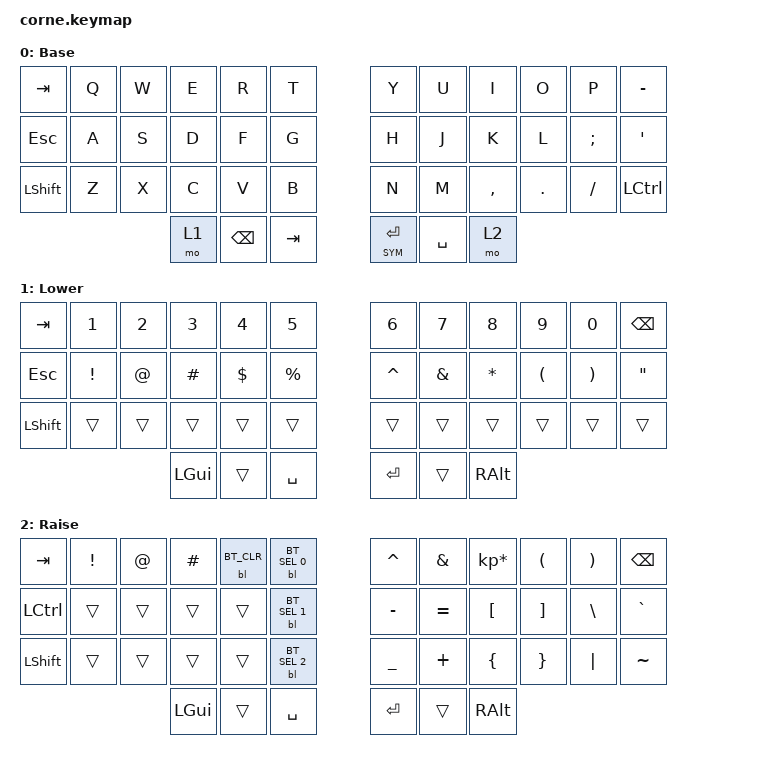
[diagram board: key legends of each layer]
/*
 * Copyright (c) 2020 The ZMK Contributors
 *
 * SPDX-License-Identifier: MIT
 */

#include <behaviors.dtsi>
#include <dt-bindings/zmk/keys.h>
#include <dt-bindings/zmk/bt.h>

#define BASE 0
#define SYM 1
#define SYM2 2
#define SETTINGS 3

/ {
        keymap {
                compatible = "zmk,keymap";

                default_layer {
// -----------------------------------------------------------------------------------------
// |  TAB |  Q  |  W  |  E  |  R  |  T  |   |  Y  |  U   |  I  |  O  |  P  | BKSP |
// | ESC  |  A  |  S  |  D  |  F  |  G  |   |  H  |  J   |  K  |  L  |  ;  |  '   |
// | SHFT |  Z  |  X  |  C  |  V  |  B  |   |  N  |  M   |  ,  |  .  |  /  | ESC  |
//                    | GUI | LWR | SPC |   | ENT | RSE  | ALT |
                        display-name = "Base";
                        bindings = <
   &kp TAB   &kp Q &kp W &kp E &kp R &kp T   &kp Y &kp U  &kp I     &kp O   &kp P    &kp MINUS
   &kp ESC &kp A &kp S &kp D &kp F &kp G   &kp H &kp J  &kp K     &kp L   &kp SEMI &kp SQT
   &kp LSHFT &kp Z &kp X &kp C &kp V &kp B   &kp N &kp M  &kp COMMA &kp DOT &kp FSLH &kp LCTRL
                  &mo 1 &kp BSPC &kp TAB   &lt SYM RET &kp SPACE  &mo 2
                        >;
                };
                lower_layer {
// -----------------------------------------------------------------------------------------
// |  TAB |  1  |  2  |  3  |  4  |  5  |   |  6  |  7  |  8  |  9  |  0  | BKSP |
// | BTCLR| BT1 | BT2 | BT3 | BT4 | BT5 |   | LFT | DWN |  UP | RGT |     |      |
// | SHFT |     |     |     |     |     |   |     |     |     |     |     |      |
//                    | GUI |     | SPC |   | ENT |     | ALT |
                        display-name = "Lower";
                        bindings = <
   &kp TAB    &kp N1       &kp N2       &kp N3       &kp N4       &kp N5         &kp N6   &kp N7   &kp N8 &kp N9    &kp N0 &kp BSPC
   &kp ESC	  &kp EXCL &kp AT_SIGN &kp HASH &kp DLLR &kp PERCENT      &kp CARET &kp AMPS &kp STAR &kp LPAR &kp RPAR &kp DQT
   &kp LSHFT  &trans       &trans       &trans       &trans       &trans         &trans   &trans   &trans &trans    &trans &trans
                          	        &kp LGUI     &trans       &kp SPACE      &kp RET  &trans   &kp RALT
                        >;
                };

                raise_layer {
// -----------------------------------------------------------------------------------------
// |  TAB |  !  |  @  |  #  |  $  |  %  |   |  ^  |  &  |  *  |  (  |  )  | BKSP |
// | CTRL |     |     |     |     |     |   |  -  |  =  |  [  |  ]  |  \  |  `   |
// | SHFT |     |     |     |     |     |   |  _  |  +  |  {  |  }  | "|" |  ~   |
//                    | GUI |     | SPC |   | ENT |     | ALT |
                        display-name = "Raise";
                        bindings = <
   &kp  TAB  &kp EXCL &kp AT &kp HASH &bl BT_CLR &bl BT_SEL 0   &kp CARET &kp AMPS  &kp KP_MULTIPLY &kp LPAR &kp RPAR &kp BSPC
   &kp LCTRL &trans   &trans &trans   &trans   &bl BT_SEL 1      &kp MINUS &kp EQUAL &kp LBKT        &kp RBKT &kp BSLH &kp GRAVE
   &kp LSHFT &trans   &trans &trans   &trans   &bl BT_SEL 2      &kp UNDER &kp PLUS  &kp LBRC        &kp RBRC &kp PIPE &kp TILDE
                    	     &kp LGUI &trans   &kp SPACE   &kp RET   &trans    &kp RALT
                        >;
                };
        };
};
